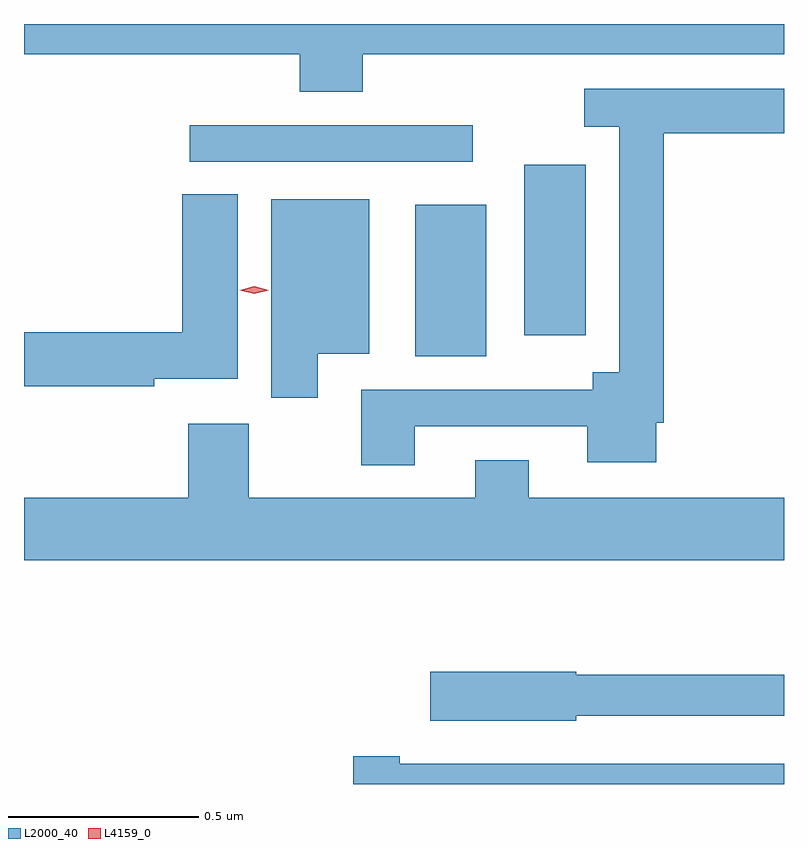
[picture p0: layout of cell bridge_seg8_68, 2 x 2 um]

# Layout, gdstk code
import gdstk
lib = gdstk.Library(unit=1e-6, precision=1e-09)
def R(c, l, rs):  # rectangles x0, y0, x1, y1
    for r in rs: c.add(gdstk.rectangle(r[:2], r[2:], *l))
def P(c, l, *ps):  # polygons
    for p in ps: c.add(gdstk.Polygon(p, *l))
L2000_40 = (2000, 40)
L4159_0 = (4159, 0)

bridge_seg8_68 = lib.new_cell('bridge_seg8_68')
R(bridge_seg8_68, L2000_40, [(926.312,1087.733,926.5,1088.131), (926.6,1087.788,926.761,1088.236), (925.719,1088.244,926.464,1088.34)])
P(bridge_seg8_68, L2000_40, [(926.174,1088.528),(927.283,1088.528),(927.283,1088.607),(925.283,1088.607),(925.283,1088.528),(926.009,1088.528),(926.009,1088.429),(926.174,1088.429)],
  [(926.311,1087.548),(926.765,1087.548),(926.765,1087.454),(926.947,1087.454),(926.947,1087.558),(926.966,1087.558),(926.966,1088.32),(927.283,1088.32),(927.283,1088.436),(926.757,1088.436),(926.757,1088.336),(926.85,1088.336),(926.85,1087.69),(926.78,1087.69),(926.78,1087.644),(926.171,1087.644),(926.171,1087.446),(926.311,1087.446)],
  [(925.626,1087.673),(925.846,1087.673),(925.846,1088.159),(925.7,1088.159),(925.7,1087.796),(925.283,1087.796),(925.283,1087.654),(925.626,1087.654)],
  [(926.056,1087.739),(926.191,1087.739),(926.191,1088.146),(925.934,1088.146),(925.934,1087.623),(926.056,1087.623)],
  [(927.283,1087.36),(926.611,1087.36),(926.611,1087.459),(926.471,1087.459),(926.471,1087.36),(925.875,1087.36),(925.875,1087.555),(925.715,1087.555),(925.715,1087.36),(925.283,1087.36),(925.283,1087.196),(927.283,1087.196)],
  [(926.736,1086.786),(927.283,1086.786),(927.283,1086.895),(926.736,1086.895),(926.736,1086.903),(926.352,1086.903),(926.352,1086.773),(926.736,1086.773)],
  [(927.283,1086.66),(926.272,1086.66),(926.272,1086.68),(926.149,1086.68),(926.149,1086.607),(927.283,1086.607)])
P(bridge_seg8_68, L4159_0, [(925.889,1087.897),(925.851,1087.907),(925.851,1087.907),(925.851,1087.907),(925.889,1087.917),(925.927,1087.907),(925.927,1087.907),(925.927,1087.907)])

lib.write_gds('bridge_seg8_68.gds')
